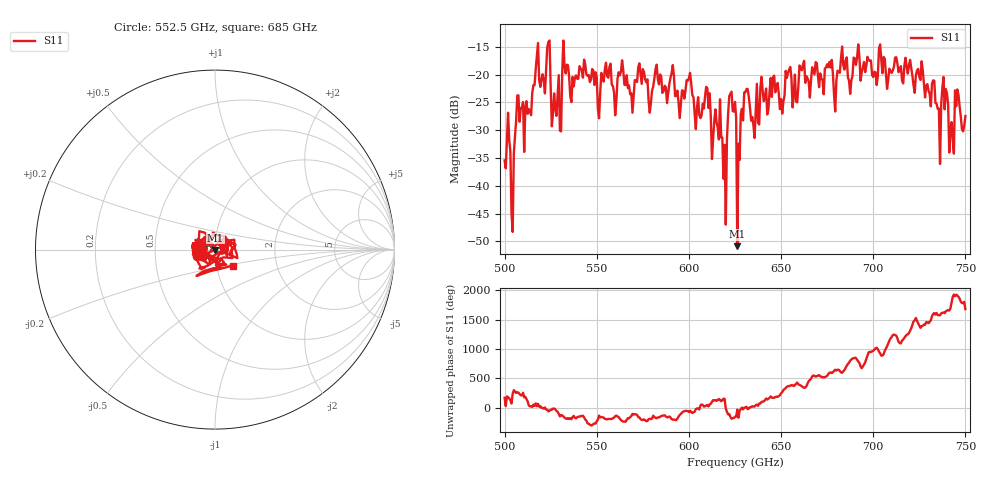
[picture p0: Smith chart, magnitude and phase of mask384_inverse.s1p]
!Created with skrf (http://scikit-rf.org).
# GHz S MA R 50.0
!freq magS11 angS11
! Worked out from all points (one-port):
!   401 points, 500 GHz to 750 GHz, reference 50 ohm
!   lowest |S11| = -50.8 dB at 626.2 GHz (marker M1), VSWR 1.01, Z = 50.2 - j0.159 ohm
!   |S11| at or under -10 dB: start of sweep to end of sweep
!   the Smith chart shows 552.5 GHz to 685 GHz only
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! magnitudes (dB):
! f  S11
! 500 GHz  -35.4
! 501.9 GHz  -26.9
! 504.4 GHz  -48.3
! 507.5 GHz  -23.7
! 511.9 GHz  -24.8
! 516.9 GHz  -19.0
! 523.8 GHz  -14.1
! 526.9 GHz  -23.4
! 531.2 GHz  -19.7
! 533.1 GHz  -19.8
! 551.9 GHz  -23.2
! 562.5 GHz  -20.1
! 593.8 GHz  -22.9
! 610 GHz  -22.4
! 619.4 GHz  -32.6
! 623.1 GHz  -23.1
! 625 GHz  -24.9
! 626.2 GHz  -50.8
! 631.2 GHz  -22.6
! 635 GHz  -29.1
! 656.2 GHz  -25.9
! 687.5 GHz  -23.4
! 718.8 GHz  -19.8
! 735 GHz  -26.2
! 738.8 GHz  -26.2
! 742.5 GHz  -28.5
! 745.6 GHz  -22.7
! 750 GHz  -27.4
